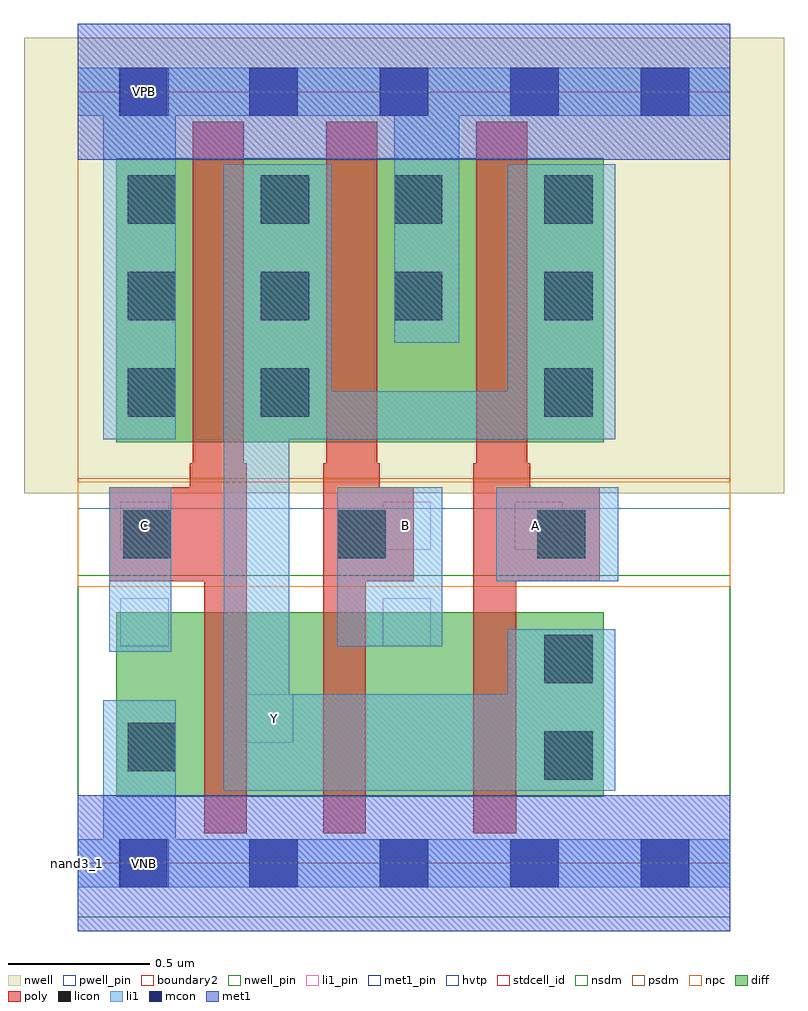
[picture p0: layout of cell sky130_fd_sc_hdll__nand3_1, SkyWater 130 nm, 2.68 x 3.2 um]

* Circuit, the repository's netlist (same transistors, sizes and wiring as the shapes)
* Copyright 2020 The SkyWater PDK Authors
*
* Licensed under the Apache License, Version 2.0 (the "License");
* you may not use this file except in compliance with the License.
* You may obtain a copy of the License at
*
*     https://www.apache.org/licenses/LICENSE-2.0
*
* Unless required by applicable law or agreed to in writing, software
* distributed under the License is distributed on an "AS IS" BASIS,
* WITHOUT WARRANTIES OR CONDITIONS OF ANY KIND, either express or implied.
* See the License for the specific language governing permissions and
* limitations under the License.
*
* SPDX-License-Identifier: Apache-2.0

.SUBCKT sky130_fd_sc_hdll__nand3_1 A B C VGND VNB VPB VPWR Y
*.PININFO A:I B:I C:I VGND:I VNB:I VPB:I VPWR:I Y:O
MMP0 Y A VPWR VPB sky130_fd_pr__pfet_01v8_hvt m=1 w=1.0U l=0.18U mult=1 sa=0.265
+ sb=0.265 sd=0.28 area=0.063 perim=1.14
MMP1 Y B VPWR VPB sky130_fd_pr__pfet_01v8_hvt m=1 w=1.0U l=0.18U mult=1 sa=0.265
+ sb=0.265 sd=0.28 area=0.063 perim=1.14
MMP2 Y C VPWR VPB sky130_fd_pr__pfet_01v8_hvt m=1 w=1.0U l=0.18U mult=1 sa=0.265
+ sb=0.265 sd=0.28 area=0.063 perim=1.14
MMN0 Y A sndA VNB sky130_fd_pr__nfet_01v8 m=1 w=0.65U l=0.15U mult=1 sa=0.265 sb=0.265
+ sd=0.28 area=0.063 perim=1.14
MMN1 sndA B sndB VNB sky130_fd_pr__nfet_01v8 m=1 w=0.65U l=0.15U mult=1 sa=0.265
+ sb=0.265 sd=0.28 area=0.063 perim=1.14
MMN2 sndB C VGND VNB sky130_fd_pr__nfet_01v8 m=1 w=0.65U l=0.15U mult=1 sa=0.265
+ sb=0.265 sd=0.28 area=0.063 perim=1.14
.ENDS sky130_fd_sc_hdll__nand3_1

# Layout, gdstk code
import gdstk
lib = gdstk.Library(unit=1e-6, precision=1e-09)
def R(c, l, rs):  # rectangles x0, y0, x1, y1
    for r in rs: c.add(gdstk.rectangle(r[:2], r[2:], *l))
def A(c, l, x, y, w, h, nx, ny, dx, dy):  # array of equal rectangles
    R(c, l, [(x+i*dx, y+j*dy, x+i*dx+w, y+j*dy+h) for i in range(nx) for j in range(ny)])
def P(c, l, *ps):  # polygons
    for p in ps: c.add(gdstk.Polygon(p, *l))
nwell_pin = (64, 16)
nwell = (64, 20)
diff = (65, 20)
poly = (66, 20)
licon = (66, 44)
li1_pin = (67, 16)
li1 = (67, 20)
mcon = (67, 44)
met1_pin = (68, 16)
met1 = (68, 20)
hvtp = (78, 44)
stdcell_id = (81, 4)
nsdm = (93, 44)
psdm = (94, 20)
npc = (95, 20)
pwell_pin = (122, 16)
boundary2 = (236, 0)

sky130_fd_sc_hdll__nand3 = lib.new_cell('sky130_fd_sc_hdll__nand3_1')
R(sky130_fd_sc_hdll__nand3, nwell_pin, [(0.15,2.635,0.32,2.805)])
R(sky130_fd_sc_hdll__nand3, nwell, [(-0.19,1.305,2.49,2.91)])
R(sky130_fd_sc_hdll__nand3, diff, [(0.135,0.235,1.855,0.885), (0.135,1.485,1.855,2.485)])
P(sky130_fd_sc_hdll__nand3, poly, [(0.595,1.41),(0.585,1.41),(0.585,2.615),(0.405,2.615),(0.405,1.41),(0.395,1.41),(0.395,1.325),(0.11,1.325),(0.11,0.995),(0.445,0.995),(0.445,0.105),(0.595,0.105)],
  [(1.185,1.325),(1.065,1.325),(1.065,1.41),(1.055,1.41),(1.055,2.615),(0.875,2.615),(0.875,1.41),(0.865,1.41),(0.865,0.105),(1.015,0.105),(1.015,0.995),(1.185,0.995)],
  [(1.84,1.325),(1.595,1.325),(1.595,1.41),(1.585,1.41),(1.585,2.615),(1.405,2.615),(1.405,1.41),(1.395,1.41),(1.395,0.105),(1.545,0.105),(1.545,0.995),(1.84,0.995)])
A(sky130_fd_sc_hdll__nand3, licon, 1.645, 1.575, 0.17, 0.17, 1, 3, 0, 0.34)
A(sky130_fd_sc_hdll__nand3, licon, 0.175, 1.915, 0.17, 0.17, 3, 2, 0.47, 0.34)
R(sky130_fd_sc_hdll__nand3, licon, [(1.645,0.295,1.815,0.465), (0.175,0.325,0.345,0.495), (1.645,0.635,1.815,0.805), (0.16,1.075,0.33,1.245), (0.915,1.075,1.085,1.245), (1.62,1.075,1.79,1.245), (0.175,1.575,0.345,1.745), (0.645,1.575,0.815,1.745)])
R(sky130_fd_sc_hdll__nand3, li1_pin, [(0.59,0.425,0.76,0.595), (0.15,0.765,0.32,0.935), (1.075,0.765,1.245,0.935), (0.15,1.105,0.32,1.275), (1.075,1.105,1.245,1.275), (1.54,1.105,1.71,1.275)])
R(sky130_fd_sc_hdll__nand3, li1, [(0.11,0.745,0.33,1.325), (0.915,0.765,1.285,1.325), (1.475,0.995,1.905,1.325)])
P(sky130_fd_sc_hdll__nand3, li1, [(2.3,2.805),(0,2.805),(0,2.635),(0.09,2.635),(0.09,1.495),(0.345,1.495),(0.345,2.635),(1.115,2.635),(1.115,1.835),(1.345,1.835),(1.345,2.635),(2.3,2.635)],
  [(2.3,0.085),(0.345,0.085),(0.345,0.575),(0.09,0.575),(0.09,0.085),(0,0.085),(0,-0.085),(2.3,-0.085)],
  [(1.895,0.825),(1.515,0.825),(1.515,0.595),(0.745,0.595),(0.745,1.495),(1.895,1.495),(1.895,2.465),(1.515,2.465),(1.515,1.665),(0.895,1.665),(0.895,2.465),(0.515,2.465),(0.515,0.255),(1.895,0.255)])
A(sky130_fd_sc_hdll__nand3, mcon, 0.145, -0.085, 0.17, 0.17, 5, 2, 0.46, 2.72)
R(sky130_fd_sc_hdll__nand3, met1_pin, [(0.15,-0.085,0.32,0.085), (0.15,2.635,0.32,2.805)])
R(sky130_fd_sc_hdll__nand3, met1, [(0,-0.24,2.3,0.24), (0,2.48,2.3,2.96)])
R(sky130_fd_sc_hdll__nand3, hvtp, [(0,1.25,2.3,2.72)])
R(sky130_fd_sc_hdll__nand3, stdcell_id, [(0,0,2.3,2.72)])
R(sky130_fd_sc_hdll__nand3, nsdm, [(0,-0.19,2.3,1.015)])
R(sky130_fd_sc_hdll__nand3, psdm, [(0,1.355,2.3,2.91)])
R(sky130_fd_sc_hdll__nand3, npc, [(0,0.975,2.3,1.345)])
R(sky130_fd_sc_hdll__nand3, pwell_pin, [(0.15,-0.085,0.32,0.085)])
R(sky130_fd_sc_hdll__nand3, boundary2, [(0,0,2.3,2.72)])
sky130_fd_sc_hdll__nand3.add(gdstk.Label('Y', (0.695,0.51), layer=67, texttype=5))
sky130_fd_sc_hdll__nand3.add(gdstk.Label('A', (1.615,1.19), layer=67, texttype=5))
sky130_fd_sc_hdll__nand3.add(gdstk.Label('C', (0.235,1.19), layer=67, texttype=5))
sky130_fd_sc_hdll__nand3.add(gdstk.Label('B', (1.155,1.19), layer=67, texttype=5))
sky130_fd_sc_hdll__nand3.add(gdstk.Label('VPB', (0.235,2.72), layer=64, texttype=5))
sky130_fd_sc_hdll__nand3.add(gdstk.Label('VNB', (0.235,0), layer=64, texttype=59))
sky130_fd_sc_hdll__nand3.add(gdstk.Label('VGND', (0.235,0), layer=68, texttype=5))
sky130_fd_sc_hdll__nand3.add(gdstk.Label('VPWR', (0.235,2.72), layer=68, texttype=5))
sky130_fd_sc_hdll__nand3.add(gdstk.Label('nand3_1', (0,0), layer=83, texttype=44))

lib.write_gds('sky130_fd_sc_hdll__nand3_1.gds')
